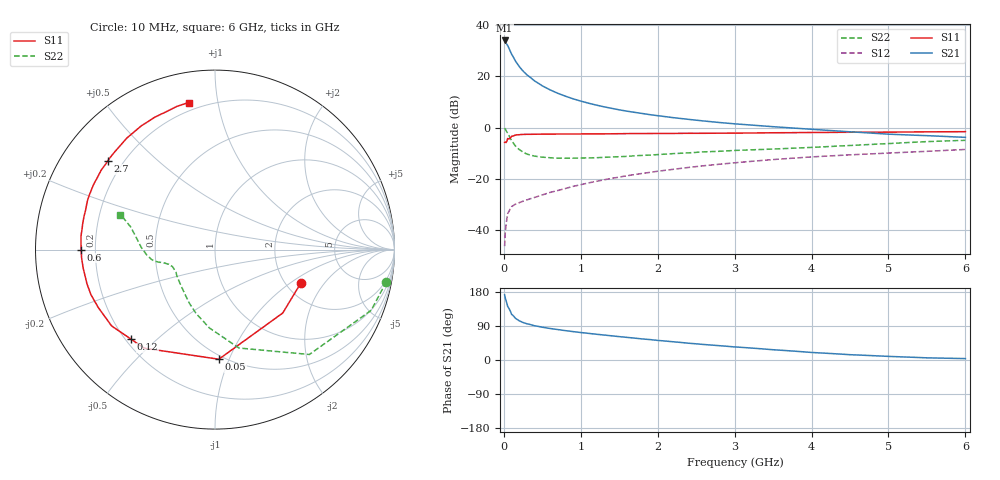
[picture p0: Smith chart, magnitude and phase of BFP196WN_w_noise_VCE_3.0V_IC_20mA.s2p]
! Infineon Technologies  Discrete & RF Semiconductors
! BFP196WN
! VCE =  3.0 V,  IC =  20 mA
! Common Emitter S-Parameters:  Jan 2017
# GHz  S  MA  R  50
!  f  S11  S21  S12  S22
! GHz  MAG  ANG  MAG  ANG  MAG  ANG  MAG  ANG
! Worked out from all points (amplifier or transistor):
!   77 points, 10 MHz to 6 GHz, reference 50 ohm
!   highest |S21| = 34.1 dB at 10 MHz (marker M1)
!   |S21| within 3 dB of that: start of sweep to 65.95 MHz
!   unconditionally stable (mu >= 1): 896.1 MHz to 2.747 GHz
!   at 130 MHz: K = 0.32, MSG = 28.8 dB, |S12| = -30.3 dB
!   at 2.2 GHz: K = 1.04, MAG = 9.0 dB, |S12| = -16.3 dB
!   at 6 GHz: K = 0.90, MSG = 2.4 dB, |S12| = -8.6 dB
!   lowest NFmin = 0.96 dB at 450 MHz
!   S11 on the Smith chart (normalised r, x): 10 MHz: 2.40, -1.21; 50 MHz: 0.47, -0.92; 120 MHz: 0.22, -0.42; 600 MHz: 0.15, -0.00; 2.7 GHz: 0.14, +0.35; 6 GHz: 0.15, +0.82
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0.01  0.5132 -21.3  50.52 171.9  0.0048 81.8  0.9711 -10.6
0.02  0.517 -43.1  47.69 162.4  0.0095 79.0  0.9339 -21.2
0.05  0.6112 -88.0  40.3 141.1  0.0206 56.0  0.7863 -48.0
0.1  0.676 -125.7  27.41 120.8  0.0284 44.1  0.5644 -76.3
0.12  0.6839 -133.1  24.41 117.3  0.0297 42.3  0.5084 -82.3
0.15  0.7161 -143.6  20.14 110.1  0.0318 39.8  0.4382 -94.0
0.2  0.7262 -153.7  15.62 103.5  0.034 38.7  0.3711 -106.5
0.25  0.7355 -160.1  12.72 98.9  0.0364 39.6  0.3318 -115.4
0.3  0.7382 -165.0  10.73 95.6  0.0386 41.2  0.3031 -122.9
0.4  0.7416 -171.9  8.152 90.3  0.0431 45.2  0.2768 -133.0
0.5  0.7448 -176.5  6.548 86.5  0.0482 48.3  0.264 -140.5
0.6  0.7454 -180.0  5.474 83.2  0.0539 51.5  0.2573 -145.8
0.7  0.7475 177.1  4.692 80.4  0.0587 54.1  0.2518 -149.4
0.8  0.7504 174.0  4.112 77.5  0.0644 56.2  0.2517 -152.1
1.1  0.7518 167.5  3.001 70.3  0.0828 59.4  0.2551 -158.0
1.5  0.7593 160.0  2.224 61.7  0.1076 60.8  0.2693 -162.4
2.1  0.768 149.8  1.636 50.0  0.1463 60.0  0.3029 -166.1
2.7  0.7751 140.4  1.301 39.4  0.1856 57.2  0.3395 -168.9
3.1  0.7814 134.4  1.154 33.2  0.211 54.6  0.3618 -172.0
4.1  0.8032 119.5  0.905 18.8  0.2719 47.3  0.4166 176.9
5.1  0.8171 108.3  0.733 8.8  0.3224 39.9  0.4958 164.2
6  0.8323 100.2  0.644 3.7  0.3736 33.8  0.5636 159.7
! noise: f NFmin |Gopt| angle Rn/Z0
0.45  0.96  0.4  169  0.05
0.9  1.1  0.5  179  0.05
1.9  2.1  0.69  210  0.12
2.4  2.86  0.7  216  0.23
